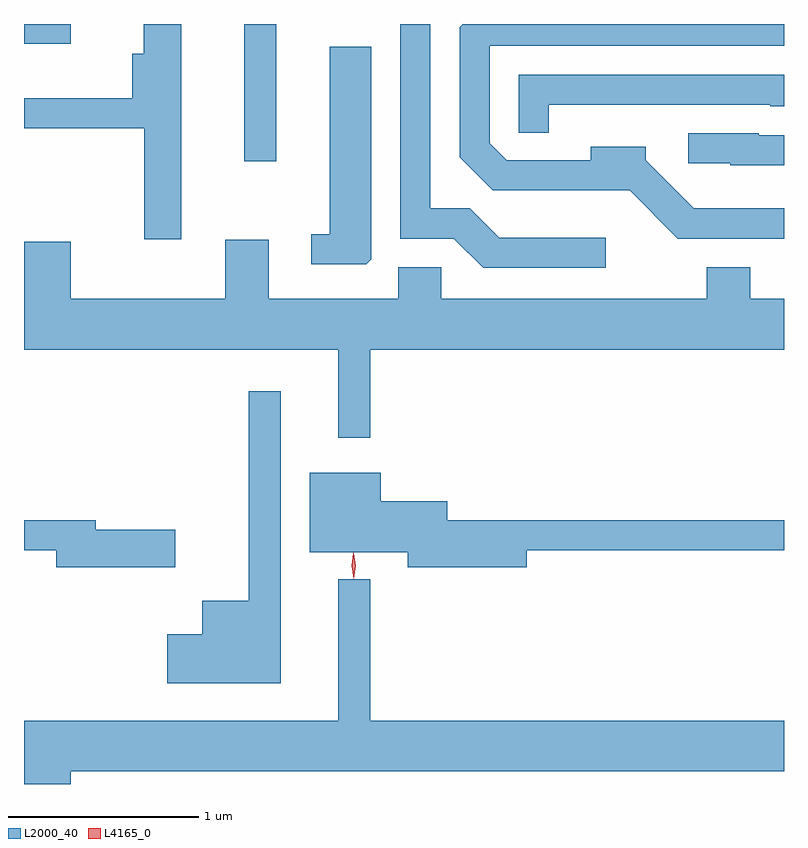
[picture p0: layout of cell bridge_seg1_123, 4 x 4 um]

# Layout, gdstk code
import gdstk
lib = gdstk.Library(unit=1e-6, precision=1e-09)
def R(c, l, rs):  # rectangles x0, y0, x1, y1
    for r in rs: c.add(gdstk.rectangle(r[:2], r[2:], *l))
def P(c, l, *ps):  # polygons
    for p in ps: c.add(gdstk.Polygon(p, *l))
L2000_40 = (2000, 40)
L4165_0 = (4165, 0)

bridge_seg1_123 = lib.new_cell('bridge_seg1_123')
R(bridge_seg1_123, L2000_40, [(1375.096,927.208,1375.264,927.93), (1373.937,927.826,1374.184,927.93)])
P(bridge_seg1_123, L2000_40, [(1374.764,927.93),(1374.566,927.93),(1374.566,927.774),(1374.506,927.774),(1374.506,927.539),(1373.937,927.539),(1373.937,927.381),(1374.571,927.381),(1374.571,926.796),(1374.764,926.796)],
  [(1377.937,926.959),(1377.462,926.959),(1377.209,927.212),(1377.209,927.284),(1376.921,927.284),(1376.921,927.214),(1376.477,927.214),(1376.389,927.302),(1376.389,927.816),(1377.937,927.816),(1377.937,927.93),(1376.247,927.93),(1376.231,927.914),(1376.231,927.229),(1376.404,927.056),(1377.124,927.056),(1377.379,926.801),(1377.937,926.801)],
  [(1376.998,926.804),(1376.437,926.804),(1376.282,926.959),(1376.074,926.959),(1376.074,927.93),(1375.916,927.93),(1375.916,926.801),(1376.199,926.801),(1376.354,926.646),(1376.998,926.646)],
  [(1375.764,926.692),(1375.764,927.809),(1375.546,927.809),(1375.546,926.824),(1375.448,926.824),(1375.448,926.666),(1375.739,926.666)],
  [(1376.699,927.506),(1377.865,927.506),(1377.865,927.496),(1377.937,927.496),(1377.937,927.664),(1376.541,927.664),(1376.541,927.358),(1376.699,927.358)],
  [(1377.937,927.344),(1377.805,927.344),(1377.805,927.354),(1377.433,927.354),(1377.433,927.196),(1377.655,927.196),(1377.655,927.186),(1377.937,927.186)],
  [(1375.759,926.216),(1377.937,926.216),(1377.937,926.484),(1377.759,926.484),(1377.759,926.649),(1377.531,926.649),(1377.531,926.484),(1376.134,926.484),(1376.134,926.649),(1375.906,926.649),(1375.906,926.484),(1375.224,926.484),(1375.224,926.794),(1374.996,926.794),(1374.996,926.484),(1374.184,926.484),(1374.184,926.784),(1373.937,926.784),(1373.937,926.216),(1375.591,926.216),(1375.591,925.753),(1375.759,925.753)],
  [(1375.289,925.998),(1375.121,925.998),(1375.121,924.894),(1374.876,924.894),(1374.876,924.719),(1374.691,924.719),(1374.691,924.461),(1375.289,924.461)],
  [(1376.584,925.161),(1377.937,925.161),(1377.937,925.319),(1376.164,925.319),(1376.164,925.419),(1375.814,925.419),(1375.814,925.569),(1375.441,925.569),(1375.441,925.151),(1375.956,925.151),(1375.956,925.071),(1376.584,925.071)],
  [(1374.734,925.269),(1374.314,925.269),(1374.314,925.319),(1373.937,925.319),(1373.937,925.161),(1374.106,925.161),(1374.106,925.071),(1374.734,925.071)],
  [(1373.937,923.93),(1374.184,923.93),(1374.184,923.996),(1377.937,923.996),(1377.937,924.264),(1375.759,924.264),(1375.759,925.008),(1375.591,925.008),(1375.591,924.264),(1373.937,924.264)])
P(bridge_seg1_123, L4165_0, [(1375.672,925.01),(1375.672,925.01),(1375.662,925.078),(1375.671,925.145),(1375.671,925.146),(1375.672,925.145),(1375.682,925.078),(1375.673,925.01)],
  [(1375.672,925.013),(1375.672,925.013),(1375.662,925.076),(1375.671,925.139),(1375.671,925.139),(1375.672,925.139),(1375.682,925.076),(1375.673,925.013)])

lib.write_gds('bridge_seg1_123.gds')
